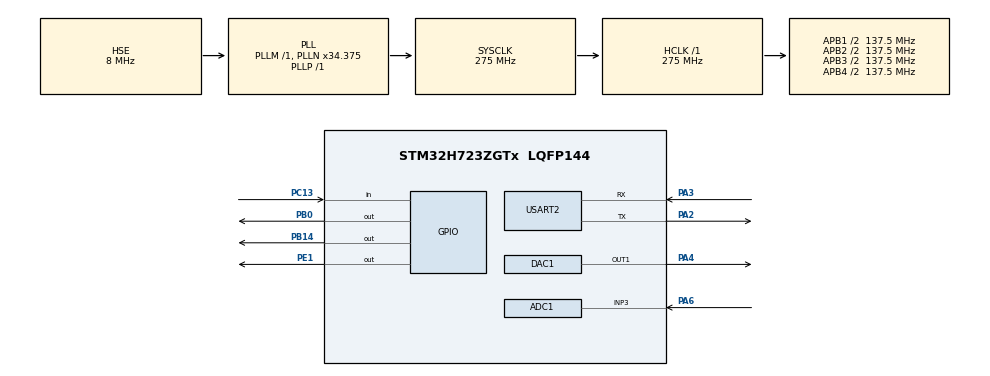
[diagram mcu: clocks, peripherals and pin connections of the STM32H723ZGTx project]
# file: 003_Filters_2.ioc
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ADC1.Channel-3\#ChannelRegularConversion=ADC_CHANNEL_3
ADC1.ClockPrescaler=ADC_CLOCK_ASYNC_DIV2
ADC1.ContinuousConvMode=ENABLE
ADC1.ConversionDataManagement=ADC_CONVERSIONDATA_DMA_CIRCULAR
ADC1.EnableInjectedConversion=DISABLE
ADC1.EnableRegularConversion=ENABLE
ADC1.ExternalTrigConv=ADC_EXTERNALTRIG_T4_TRGO
ADC1.NbrOfConversionFlag=1
ADC1.OffsetNumber-3\#ChannelRegularConversion=ADC_OFFSET_NONE
ADC1.OffsetSignedSaturation-3\#ChannelRegularConversion=DISABLE
ADC1.OversamplingMode=DISABLE
ADC1.Rank-3\#ChannelRegularConversion=1
ADC1.Ratio=1
ADC1.Resolution=ADC_RESOLUTION_12B
ADC1.SamplingTime-3\#ChannelRegularConversion=ADC_SAMPLETIME_64CYCLES_5
ADC1.master=1
CORTEX_M7.CPU_DCache=Disabled
CORTEX_M7.MPU_Control=__NULL
CORTEX_M7.default_mode_Activation=1
DAC1.DAC_Channel-DAC_OUT1=DAC_CHANNEL_1
DAC1.DAC_Trigger-DAC_OUT1=DAC_TRIGGER_T8_TRGO
DAC1.TriangleAmplitude-DAC_OUT1=DAC_TRIANGLEAMPLITUDE_1023
DAC1.WaveGeneration-DAC_OUT1=TriangleWaveGeneration
Dma.ADC1.0.Direction=DMA_PERIPH_TO_MEMORY
Dma.ADC1.0.EventEnable=DISABLE
Dma.ADC1.0.FIFOMode=DMA_FIFOMODE_DISABLE
Dma.ADC1.0.Instance=DMA1_Stream0
Dma.ADC1.0.MemDataAlignment=DMA_MDATAALIGN_HALFWORD
Dma.ADC1.0.MemInc=DMA_MINC_ENABLE
Dma.ADC1.0.Mode=DMA_CIRCULAR
Dma.ADC1.0.PeriphDataAlignment=DMA_PDATAALIGN_HALFWORD
Dma.ADC1.0.PeriphInc=DMA_PINC_DISABLE
Dma.ADC1.0.Polarity=HAL_DMAMUX_REQ_GEN_RISING
Dma.ADC1.0.Priority=DMA_PRIORITY_LOW
Dma.ADC1.0.RequestNumber=1
Dma.ADC1.0.SignalID=NONE
Dma.ADC1.0.SyncEnable=DISABLE
Dma.ADC1.0.SyncPolarity=HAL_DMAMUX_SYNC_NO_EVENT
Dma.ADC1.0.SyncRequestNumber=1
Dma.ADC1.0.SyncSignalID=NONE
Dma.DAC1_CH1.1.Direction=DMA_MEMORY_TO_PERIPH
Dma.DAC1_CH1.1.EventEnable=DISABLE
Dma.DAC1_CH1.1.FIFOMode=DMA_FIFOMODE_DISABLE
Dma.DAC1_CH1.1.Instance=DMA1_Stream1
Dma.DAC1_CH1.1.MemDataAlignment=DMA_MDATAALIGN_BYTE
Dma.DAC1_CH1.1.MemInc=DMA_MINC_ENABLE
Dma.DAC1_CH1.1.Mode=DMA_CIRCULAR
Dma.DAC1_CH1.1.PeriphDataAlignment=DMA_PDATAALIGN_BYTE
Dma.DAC1_CH1.1.PeriphInc=DMA_PINC_DISABLE
Dma.DAC1_CH1.1.Polarity=HAL_DMAMUX_REQ_GEN_RISING
Dma.DAC1_CH1.1.Priority=DMA_PRIORITY_LOW
Dma.DAC1_CH1.1.RequestNumber=1
Dma.DAC1_CH1.1.SignalID=NONE
Dma.DAC1_CH1.1.SyncEnable=DISABLE
Dma.DAC1_CH1.1.SyncPolarity=HAL_DMAMUX_SYNC_NO_EVENT
Dma.DAC1_CH1.1.SyncRequestNumber=1
Dma.DAC1_CH1.1.SyncSignalID=NONE
Dma.Request0=ADC1
Dma.Request1=DAC1_CH1
Mcu.Family=STM32H7
Mcu.Name=STM32H723ZGTx
Mcu.Package=LQFP144
NUCLEO-H723ZG.BUTTON=1
NUCLEO-H723ZG.LD1=true
NUCLEO-H723ZG.LD2=true
NUCLEO-H723ZG.LD3=true
NUCLEO-H723ZG.VCP=true
NVIC.ADC_IRQn=true\:0\:0\:false\:false\:true\:true\:true\:true
NVIC.DMA1_Stream0_IRQn=true\:0\:0\:false\:false\:true\:false\:true\:true
NVIC.DMA1_Stream1_IRQn=true\:0\:0\:false\:false\:true\:false\:true\:true
NVIC.EXTI15_10_IRQn=true\:0\:0\:false\:false\:true\:false\:true\:true
NVIC.PriorityGroup=NVIC_PRIORITYGROUP_4
NVIC.TIM6_DAC_IRQn=true\:5\:0\:true\:false\:true\:true\:true\:true
PA13(JTMS/SWDIO).GPIO_Label=SWDIO
PA13(JTMS/SWDIO).Mode=Trace_Asynchronous_SW
PA13(JTMS/SWDIO).Signal=DEBUG_JTMS-SWDIO
PA14(JTCK/SWCLK).GPIO_Label=SWCLK
PA14(JTCK/SWCLK).Mode=Trace_Asynchronous_SW
PA14(JTCK/SWCLK).Signal=DEBUG_JTCK-SWCLK
PA2.Mode=Asynchronous
PA2.Signal=USART2_TX
PA3.Mode=Asynchronous
PA3.Signal=USART2_RX
PA4.Signal=COMP_DAC11_group
PA6.Signal=ADCx_INP3
PB0.Signal=GPIO_Output
PB14.Signal=GPIO_Output
PB3(JTDO/TRACESWO).Mode=Trace_Asynchronous_SW
PB3(JTDO/TRACESWO).Signal=DEBUG_JTDO-SWO
PC13.Signal=GPIO_Input
PC14-OSC32_IN.Signal=RCC_OSC32_IN
PC15-OSC32_OUT.Signal=RCC_OSC32_OUT
PD8.Signal=USART3_TX
PD9.Signal=USART3_RX
PE1.Signal=GPIO_Output
PH0-OSC_IN.Mode=HSE-External-Oscillator
PH0-OSC_IN.Signal=RCC_OSC_IN
PH1-OSC_OUT.Mode=HSE-External-Oscillator
PH1-OSC_OUT.Signal=RCC_OSC_OUT
ProjectManager.HeapSize=0x200
ProjectManager.StackSize=0x400
ProjectManager.TargetToolchain=STM32CubeIDE
RCC.ADCFreq_Value=50000000
RCC.APB1Freq_Value=137500000
RCC.APB2Freq_Value=137500000
RCC.APB3Freq_Value=137500000
RCC.APB4Freq_Value=137500000
RCC.CortexFreq_Value=275000000
RCC.D1PPRE=RCC_APB3_DIV2
RCC.D2PPRE1=RCC_APB1_DIV2
RCC.D2PPRE2=RCC_APB2_DIV2
RCC.D3PPRE=RCC_APB4_DIV2
RCC.DIVM1=1
RCC.DIVM2=1
RCC.DIVN1=34
RCC.DIVN2=25
RCC.DIVP1=1
RCC.DIVP2=4
RCC.DIVQ1=4
RCC.HCLKFreq_Value=275000000
RCC.HSE_VALUE=8000000
RCC.PLL2FRACN=0
RCC.PLLFRACN=3072
RCC.PLLSourceVirtual=RCC_PLLSOURCE_HSE
RCC.SYSCLKFreq_VALUE=275000000
RCC.SYSCLKSource=RCC_SYSCLKSOURCE_PLLCLK
RCC.USBCLockSelection=RCC_USBCLKSOURCE_HSI48
RCC.USBFreq_Value=48000000
SH.ADCx_INP3.0=ADC1_INP3,IN3-Single-Ended
SH.COMP_DAC11_group.0=DAC1_OUT1,DAC_OUT1
TIM4.Period=2-1
TIM4.Prescaler=2750-1
TIM4.TIM_MasterOutputTrigger=TIM_TRGO_UPDATE
TIM6.Period=20-1
TIM6.Prescaler=2750-1
TIM6.TIM_MasterOutputTrigger=TIM_TRGO_RESET
TIM8.Period=100-1
TIM8.Prescaler=2750-1
TIM8.TIM_MasterOutputTrigger=TIM_TRGO_UPDATE
USART2.VirtualMode-Asynchronous=VM_ASYNC
VP_MEMORYMAP_VS_MEMORYMAP.Mode=CurAppReg
VP_NUCLEO-H723ZG_VS_BSP_COMMON.Mode=COMMON
VP_RNG_VS_RNG.Mode=RNG_Activate
VP_TIM4_VS_ClockSourceINT.Mode=Internal
VP_TIM6_VS_ClockSourceINT.Mode=Enable_Timer
VP_TIM8_VS_ClockSourceINT.Mode=Internal
board=NUCLEO-H723ZG

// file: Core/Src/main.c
/* USER CODE BEGIN Header */
/**
  ******************************************************************************
  * @file           : main.c
  * @brief          : Main program body
  ******************************************************************************
  * @attention
  *
  * Copyright (c) 2025 STMicroelectronics.
  * All rights reserved.
  *
  * This software is licensed under terms that can be found in the LICENSE file
  * in the root directory of this software component.
  * If no LICENSE file comes with this software, it is provided AS-IS.
  *
  ******************************************************************************
  */
/* USER CODE END Header */
#include "main.h"

/* USER CODE BEGIN Includes */
#include"stdbool.h"
#include"string.h"
#include "../Filters/FIR/FIR.h"
/* USER CODE END Includes */

COM_InitTypeDef BspCOMInit;
ADC_HandleTypeDef hadc1;
DMA_HandleTypeDef hdma_adc1;

DAC_HandleTypeDef hdac1;
DMA_HandleTypeDef hdma_dac1_ch1;

RNG_HandleTypeDef hrng;

TIM_HandleTypeDef htim4;
TIM_HandleTypeDef htim6;
TIM_HandleTypeDef htim8;

UART_HandleTypeDef huart2;

void SystemClock_Config(void);
static void MX_GPIO_Init(void);
static void MX_DMA_Init(void);
static void MX_ADC1_Init(void);
static void MX_USART2_UART_Init(void);
static void MX_DAC1_Init(void);
static void MX_TIM8_Init(void);
static void MX_TIM6_Init(void);
static void MX_TIM4_Init(void);
static void MX_RNG_Init(void);
/* USER CODE BEGIN PFP */
/*video konusu hizlama onemi
 * dtcm rame etkisi */
/* USER CODE END PFP */

/* USER CODE BEGIN 0 */

#define BLOCK_SIZE 32
#define ADC_BUF_SIZE (BLOCK_SIZE * 2)

uint16_t adc_dma_buffer[ADC_BUF_SIZE];
float fir_out_buffer_half[BLOCK_SIZE];
float fir_out_buffer_full[BLOCK_SIZE];

DTCM volatile uint8_t dataReady_half  = 0x00;
DTCM volatile uint8_t dataReady_full  = 0x00;
DTCM  float fir_state[LENGTH] = {0.0f};
DTCM  float Fir_Coeff[LENGTH];
FIR_t adc_Filter;
uint32_t mainCountter = 0 ;

void DAC_Triangle_Start(void)
{
	// DAC ayarları

	HAL_DAC_Start(&hdac1, DAC_CHANNEL_1);
	HAL_DACEx_TriangleWaveGenerate(&hdac1, DAC_CHANNEL_1, DAC_TRIANGLEAMPLITUDE_1023);
	HAL_DAC_Start(&hdac1, DAC_CHANNEL_1);

	//1khz
	HAL_TIM_Base_Start(&htim8);
	__DSB();
	__DMB();
}

void ADC_Read_Start(void)
{

	HAL_ADCEx_Calibration_Start(&hadc1, ADC_CALIB_OFFSET, ADC_SINGLE_ENDED);
	HAL_ADCEx_Calibration_Start(&hadc1, ADC_CALIB_OFFSET_LINEARITY,	ADC_SINGLE_ENDED);
	HAL_Delay(1000);

	HAL_ADC_Start_DMA(&hadc1, (uint32_t*) &adc_dma_buffer,ADC_BUF_SIZE);
	//50 khz Fs
	HAL_TIM_Base_Start(&htim4);
	__DSB();
	__DMB();
}

/* USER CODE END 0 */

int main(void)
{

  /* MCU Configuration--------------------------------------------------------*/

  /* Reset of all peripherals, Initializes the Flash interface and the Systick. */
  HAL_Init();

  /* Configure the system clock */
  SystemClock_Config();

  /* Initialize all configured peripherals */
  MX_GPIO_Init();
  MX_DMA_Init();
  MX_ADC1_Init();
  MX_USART2_UART_Init();
  MX_DAC1_Init();
  MX_TIM8_Init();
  MX_TIM6_Init();
  MX_TIM4_Init();
  MX_RNG_Init();
  /* USER CODE BEGIN 2 */
	fir_Init(&adc_Filter, Fir_Coeff, fir_state, LENGTH);

	HAL_Delay(200);
	__DSB();
	__DMB();
	HAL_TIM_Base_Start_IT(&htim6);
	ADC_Read_Start();
	DAC_Triangle_Start();

  /* USER CODE END 2 */

  /* Initialize leds */
  BSP_LED_Init(LED_GREEN);
  BSP_LED_Init(LED_YELLOW);
  BSP_LED_Init(LED_RED);

  /* Initialize USER push-button, will be used to trigger an interrupt each time it's pressed.*/
  BSP_PB_Init(BUTTON_USER, BUTTON_MODE_EXTI);

  /* Initialize COM1 port (115200, 8 bits (7-bit data + 1 stop bit), no parity */
  BspCOMInit.BaudRate   = 115200;
  BspCOMInit.WordLength = COM_WORDLENGTH_8B;
  BspCOMInit.StopBits   = COM_STOPBITS_1;
  BspCOMInit.Parity     = COM_PARITY_NONE;
  BspCOMInit.HwFlowCtl  = COM_HWCONTROL_NONE;
  if (BSP_COM_Init(COM1, &BspCOMInit) != BSP_ERROR_NONE)
  {
    Error_Handler();
  }

  /* Infinite loop */
  while (1)
  {

    /* USER CODE BEGIN 3 */
	  mainCountter++;

  }
  /* USER CODE END 3 */
}

void SystemClock_Config(void)
{
  RCC_OscInitTypeDef RCC_OscInitStruct = {0};
  RCC_ClkInitTypeDef RCC_ClkInitStruct = {0};

  /** Supply configuration update enable
  */
  HAL_PWREx_ConfigSupply(PWR_LDO_SUPPLY);

  /** Configure the main internal regulator output voltage
  */
  __HAL_PWR_VOLTAGESCALING_CONFIG(PWR_REGULATOR_VOLTAGE_SCALE0);

  while(!__HAL_PWR_GET_FLAG(PWR_FLAG_VOSRDY)) {}

  /** Initializes the RCC Oscillators according to the specified parameters
  * in the RCC_OscInitTypeDef structure.
  */
  RCC_OscInitStruct.OscillatorType = RCC_OSCILLATORTYPE_HSI48|RCC_OSCILLATORTYPE_HSE;
  RCC_OscInitStruct.HSEState = RCC_HSE_ON;
  RCC_OscInitStruct.HSI48State = RCC_HSI48_ON;
  RCC_OscInitStruct.PLL.PLLState = RCC_PLL_ON;
  RCC_OscInitStruct.PLL.PLLSource = RCC_PLLSOURCE_HSE;
  RCC_OscInitStruct.PLL.PLLM = 1;
  RCC_OscInitStruct.PLL.PLLN = 34;
  RCC_OscInitStruct.PLL.PLLP = 1;
  RCC_OscInitStruct.PLL.PLLQ = 4;
  RCC_OscInitStruct.PLL.PLLR = 2;
  RCC_OscInitStruct.PLL.PLLRGE = RCC_PLL1VCIRANGE_3;
  RCC_OscInitStruct.PLL.PLLVCOSEL = RCC_PLL1VCOWIDE;
  RCC_OscInitStruct.PLL.PLLFRACN = 3072;
  if (HAL_RCC_OscConfig(&RCC_OscInitStruct) != HAL_OK)
  {
    Error_Handler();
  }

  /** Initializes the CPU, AHB and APB buses clocks
  */
  RCC_ClkInitStruct.ClockType = RCC_CLOCKTYPE_HCLK|RCC_CLOCKTYPE_SYSCLK
                              |RCC_CLOCKTYPE_PCLK1|RCC_CLOCKTYPE_PCLK2
                              |RCC_CLOCKTYPE_D3PCLK1|RCC_CLOCKTYPE_D1PCLK1;
  RCC_ClkInitStruct.SYSCLKSource = RCC_SYSCLKSOURCE_PLLCLK;
  RCC_ClkInitStruct.SYSCLKDivider = RCC_SYSCLK_DIV1;
  RCC_ClkInitStruct.AHBCLKDivider = RCC_HCLK_DIV1;
  RCC_ClkInitStruct.APB3CLKDivider = RCC_APB3_DIV2;
  RCC_ClkInitStruct.APB1CLKDivider = RCC_APB1_DIV2;
  RCC_ClkInitStruct.APB2CLKDivider = RCC_APB2_DIV2;
  RCC_ClkInitStruct.APB4CLKDivider = RCC_APB4_DIV2;

  if (HAL_RCC_ClockConfig(&RCC_ClkInitStruct, FLASH_LATENCY_3) != HAL_OK)
  {
    Error_Handler();
  }
}

static void MX_ADC1_Init(void)
{

  ADC_MultiModeTypeDef multimode = {0};
  ADC_ChannelConfTypeDef sConfig = {0};

  /** Common config
  */
  hadc1.Instance = ADC1;
  hadc1.Init.ClockPrescaler = ADC_CLOCK_ASYNC_DIV2;
  hadc1.Init.Resolution = ADC_RESOLUTION_12B;
  hadc1.Init.ScanConvMode = ADC_SCAN_DISABLE;
  hadc1.Init.EOCSelection = ADC_EOC_SINGLE_CONV;
  hadc1.Init.LowPowerAutoWait = DISABLE;
  hadc1.Init.ContinuousConvMode = ENABLE;
  hadc1.Init.NbrOfConversion = 1;
  hadc1.Init.DiscontinuousConvMode = DISABLE;
  hadc1.Init.ExternalTrigConv = ADC_EXTERNALTRIG_T4_TRGO;
  hadc1.Init.ExternalTrigConvEdge = ADC_EXTERNALTRIGCONVEDGE_RISING;
  hadc1.Init.ConversionDataManagement = ADC_CONVERSIONDATA_DMA_CIRCULAR;
  hadc1.Init.Overrun = ADC_OVR_DATA_PRESERVED;
  hadc1.Init.LeftBitShift = ADC_LEFTBITSHIFT_NONE;
  hadc1.Init.OversamplingMode = DISABLE;
  hadc1.Init.Oversampling.Ratio = 1;
  if (HAL_ADC_Init(&hadc1) != HAL_OK)
  {
    Error_Handler();
  }

  /** Configure the ADC multi-mode
  */
  multimode.Mode = ADC_MODE_INDEPENDENT;
  if (HAL_ADCEx_MultiModeConfigChannel(&hadc1, &multimode) != HAL_OK)
  {
    Error_Handler();
  }

  /** Configure Regular Channel
  */
  sConfig.Channel = ADC_CHANNEL_3;
  sConfig.Rank = ADC_REGULAR_RANK_1;
  sConfig.SamplingTime = ADC_SAMPLETIME_64CYCLES_5;
  sConfig.SingleDiff = ADC_SINGLE_ENDED;
  sConfig.OffsetNumber = ADC_OFFSET_NONE;
  sConfig.Offset = 0;
  sConfig.OffsetSignedSaturation = DISABLE;
  if (HAL_ADC_ConfigChannel(&hadc1, &sConfig) != HAL_OK)
  {
    Error_Handler();
  }

}

static void MX_DAC1_Init(void)
{

  DAC_ChannelConfTypeDef sConfig = {0};

  /** DAC Initialization
  */
  hdac1.Instance = DAC1;
  if (HAL_DAC_Init(&hdac1) != HAL_OK)
  {
    Error_Handler();
  }

  /** DAC channel OUT1 config
  */
  sConfig.DAC_SampleAndHold = DAC_SAMPLEANDHOLD_DISABLE;
  sConfig.DAC_Trigger = DAC_TRIGGER_T8_TRGO;
  sConfig.DAC_OutputBuffer = DAC_OUTPUTBUFFER_ENABLE;
  sConfig.DAC_ConnectOnChipPeripheral = DAC_CHIPCONNECT_DISABLE;
  sConfig.DAC_UserTrimming = DAC_TRIMMING_FACTORY;
  if (HAL_DAC_ConfigChannel(&hdac1, &sConfig, DAC_CHANNEL_1) != HAL_OK)
  {
    Error_Handler();
  }

  /** Configure Triangle wave generation on DAC OUT1
  */
  if (HAL_DACEx_TriangleWaveGenerate(&hdac1, DAC_CHANNEL_1, DAC_TRIANGLEAMPLITUDE_1023) != HAL_OK)
  {
    Error_Handler();
  }

}

static void MX_RNG_Init(void)
{

  hrng.Instance = RNG;
  hrng.Init.ClockErrorDetection = RNG_CED_ENABLE;
  if (HAL_RNG_Init(&hrng) != HAL_OK)
  {
    Error_Handler();
  }

}

static void MX_TIM4_Init(void)
{

  TIM_ClockConfigTypeDef sClockSourceConfig = {0};
  TIM_MasterConfigTypeDef sMasterConfig = {0};

  htim4.Instance = TIM4;
  htim4.Init.Prescaler = 2750-1;
  htim4.Init.CounterMode = TIM_COUNTERMODE_UP;
  htim4.Init.Period = 2-1;
  htim4.Init.ClockDivision = TIM_CLOCKDIVISION_DIV1;
  htim4.Init.AutoReloadPreload = TIM_AUTORELOAD_PRELOAD_DISABLE;
  if (HAL_TIM_Base_Init(&htim4) != HAL_OK)
  {
    Error_Handler();
  }
  sClockSourceConfig.ClockSource = TIM_CLOCKSOURCE_INTERNAL;
  if (HAL_TIM_ConfigClockSource(&htim4, &sClockSourceConfig) != HAL_OK)
  {
    Error_Handler();
  }
  sMasterConfig.MasterOutputTrigger = TIM_TRGO_UPDATE;
  sMasterConfig.MasterSlaveMode = TIM_MASTERSLAVEMODE_DISABLE;
  if (HAL_TIMEx_MasterConfigSynchronization(&htim4, &sMasterConfig) != HAL_OK)
  {
    Error_Handler();
  }

}

static void MX_TIM6_Init(void)
{

  TIM_MasterConfigTypeDef sMasterConfig = {0};

  htim6.Instance = TIM6;
  htim6.Init.Prescaler = 2750-1;
  htim6.Init.CounterMode = TIM_COUNTERMODE_UP;
  htim6.Init.Period = 20-1;
  htim6.Init.AutoReloadPreload = TIM_AUTORELOAD_PRELOAD_DISABLE;
  if (HAL_TIM_Base_Init(&htim6) != HAL_OK)
  {
    Error_Handler();
  }
  sMasterConfig.MasterOutputTrigger = TIM_TRGO_RESET;
  sMasterConfig.MasterSlaveMode = TIM_MASTERSLAVEMODE_DISABLE;
  if (HAL_TIMEx_MasterConfigSynchronization(&htim6, &sMasterConfig) != HAL_OK)
  {
    Error_Handler();
  }

}

static void MX_TIM8_Init(void)
{

  TIM_ClockConfigTypeDef sClockSourceConfig = {0};
  TIM_MasterConfigTypeDef sMasterConfig = {0};

  htim8.Instance = TIM8;
  htim8.Init.Prescaler = 2750-1;
  htim8.Init.CounterMode = TIM_COUNTERMODE_UP;
  htim8.Init.Period = 100-1;
  htim8.Init.ClockDivision = TIM_CLOCKDIVISION_DIV1;
  htim8.Init.RepetitionCounter = 0;
  htim8.Init.AutoReloadPreload = TIM_AUTORELOAD_PRELOAD_DISABLE;
  if (HAL_TIM_Base_Init(&htim8) != HAL_OK)
  {
    Error_Handler();
  }
  sClockSourceConfig.ClockSource = TIM_CLOCKSOURCE_INTERNAL;
  if (HAL_TIM_ConfigClockSource(&htim8, &sClockSourceConfig) != HAL_OK)
  {
    Error_Handler();
  }
  sMasterConfig.MasterOutputTrigger = TIM_TRGO_UPDATE;
  sMasterConfig.MasterOutputTrigger2 = TIM_TRGO2_RESET;
  sMasterConfig.MasterSlaveMode = TIM_MASTERSLAVEMODE_DISABLE;
  if (HAL_TIMEx_MasterConfigSynchronization(&htim8, &sMasterConfig) != HAL_OK)
  {
    Error_Handler();
  }

}

static void MX_USART2_UART_Init(void)
{

  huart2.Instance = USART2;
  huart2.Init.BaudRate = 115200;
  huart2.Init.WordLength = UART_WORDLENGTH_8B;
  huart2.Init.StopBits = UART_STOPBITS_1;
  huart2.Init.Parity = UART_PARITY_NONE;
  huart2.Init.Mode = UART_MODE_TX_RX;
  huart2.Init.HwFlowCtl = UART_HWCONTROL_NONE;
  huart2.Init.OverSampling = UART_OVERSAMPLING_16;
  huart2.Init.OneBitSampling = UART_ONE_BIT_SAMPLE_DISABLE;
  huart2.Init.ClockPrescaler = UART_PRESCALER_DIV1;
  huart2.AdvancedInit.AdvFeatureInit = UART_ADVFEATURE_NO_INIT;
  if (HAL_UART_Init(&huart2) != HAL_OK)
  {
    Error_Handler();
  }
  if (HAL_UARTEx_SetTxFifoThreshold(&huart2, UART_TXFIFO_THRESHOLD_1_8) != HAL_OK)
  {
    Error_Handler();
  }
  if (HAL_UARTEx_SetRxFifoThreshold(&huart2, UART_RXFIFO_THRESHOLD_1_8) != HAL_OK)
  {
    Error_Handler();
  }
  if (HAL_UARTEx_DisableFifoMode(&huart2) != HAL_OK)
  {
    Error_Handler();
  }

}

static void MX_DMA_Init(void)
{

  /* DMA controller clock enable */
  __HAL_RCC_DMA1_CLK_ENABLE();

  /* DMA interrupt init */
  /* DMA1_Stream0_IRQn interrupt configuration */
  HAL_NVIC_SetPriority(DMA1_Stream0_IRQn, 0, 0);
  HAL_NVIC_EnableIRQ(DMA1_Stream0_IRQn);
  /* DMA1_Stream1_IRQn interrupt configuration */
  HAL_NVIC_SetPriority(DMA1_Stream1_IRQn, 0, 0);
  HAL_NVIC_EnableIRQ(DMA1_Stream1_IRQn);

}

static void MX_GPIO_Init(void)
{

  /* GPIO Ports Clock Enable */
  __HAL_RCC_GPIOC_CLK_ENABLE();
  __HAL_RCC_GPIOH_CLK_ENABLE();
  __HAL_RCC_GPIOA_CLK_ENABLE();
  __HAL_RCC_GPIOB_CLK_ENABLE();

}

/* USER CODE BEGIN 4 */

void HAL_ADC_ConvHalfCpltCallback(ADC_HandleTypeDef *hadc)
{
    if(hadc->Instance == ADC1)
    {
        // (0-31)
        fir_apply_block(&adc_Filter,
                        &adc_dma_buffer[0],          // input
						fir_out_buffer_half,              // output
                        BLOCK_SIZE);

        dataReady_half = 1;

    }
}

void HAL_ADC_ConvCpltCallback(ADC_HandleTypeDef *hadc)
{
    if(hadc->Instance == ADC1)
    {
    	//(31-62)
        fir_apply_block(&adc_Filter,
                        &adc_dma_buffer[BLOCK_SIZE], // input
						fir_out_buffer_full,
                        BLOCK_SIZE);

        dataReady_full = 1;

    }
}

//100hz
void HAL_TIM_PeriodElapsedCallback(TIM_HandleTypeDef *htim) {
	if (htim->Instance == TIM6) {

		if(dataReady_half) {
		    dataReady_half = 0;
		    for(int i=0; i<BLOCK_SIZE; i++) {
		        printf("%u, %.6f\r\n", adc_dma_buffer[i], fir_out_buffer_half[i]);
		    }
		}

		if(dataReady_full) {
		    dataReady_full = 0;
		    for(int i=0; i<BLOCK_SIZE; i++) {
		        printf("%u, %.6f\r\n", adc_dma_buffer[BLOCK_SIZE+i], fir_out_buffer_full[i]);
		    }
		}

	}
}

/* USER CODE END 4 */

void Error_Handler(void)
{
  __disable_irq();
  while (1)
  {
  }
}
